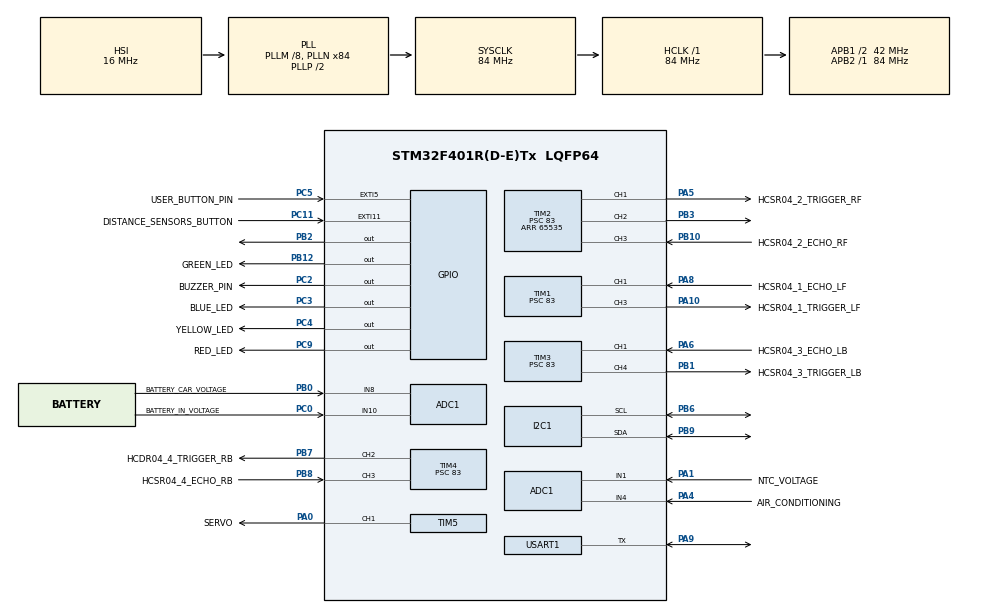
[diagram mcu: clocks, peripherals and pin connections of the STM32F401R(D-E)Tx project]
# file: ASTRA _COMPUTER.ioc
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ADC1.Channel-0\#ChannelRegularConversion=ADC_CHANNEL_8
ADC1.Channel-1\#ChannelRegularConversion=ADC_CHANNEL_1
ADC1.Channel-2\#ChannelRegularConversion=ADC_CHANNEL_4
ADC1.Channel-3\#ChannelRegularConversion=ADC_CHANNEL_10
ADC1.ContinuousConvMode=ENABLE
ADC1.DMAContinuousRequests=ENABLE
ADC1.NbrOfConversion=4
ADC1.NbrOfConversionFlag=1
ADC1.Rank-0\#ChannelRegularConversion=1
ADC1.Rank-1\#ChannelRegularConversion=2
ADC1.Rank-2\#ChannelRegularConversion=3
ADC1.Rank-3\#ChannelRegularConversion=4
ADC1.SamplingTime-0\#ChannelRegularConversion=ADC_SAMPLETIME_480CYCLES
ADC1.SamplingTime-1\#ChannelRegularConversion=ADC_SAMPLETIME_480CYCLES
ADC1.SamplingTime-2\#ChannelRegularConversion=ADC_SAMPLETIME_112CYCLES
ADC1.SamplingTime-3\#ChannelRegularConversion=ADC_SAMPLETIME_480CYCLES
ADC1.master=1
Dma.ADC1.0.Direction=DMA_PERIPH_TO_MEMORY
Dma.ADC1.0.FIFOMode=DMA_FIFOMODE_DISABLE
Dma.ADC1.0.Instance=DMA2_Stream0
Dma.ADC1.0.MemDataAlignment=DMA_MDATAALIGN_HALFWORD
Dma.ADC1.0.MemInc=DMA_MINC_ENABLE
Dma.ADC1.0.Mode=DMA_CIRCULAR
Dma.ADC1.0.PeriphDataAlignment=DMA_PDATAALIGN_HALFWORD
Dma.ADC1.0.PeriphInc=DMA_PINC_DISABLE
Dma.ADC1.0.Priority=DMA_PRIORITY_LOW
Dma.Request0=ADC1
Mcu.Family=STM32F4
Mcu.Name=STM32F401R(D-E)Tx
Mcu.Package=LQFP64
NVIC.DMA2_Stream0_IRQn=true\:0\:0\:false\:false\:true\:false\:true\:true
NVIC.EXTI15_10_IRQn=true\:0\:0\:false\:true\:true\:7\:true\:true\:true
NVIC.EXTI9_5_IRQn=true\:0\:0\:false\:true\:true\:1\:true\:true\:true
NVIC.PriorityGroup=NVIC_PRIORITYGROUP_4
NVIC.TIM1_CC_IRQn=true\:0\:0\:false\:true\:true\:5\:true\:true\:true
NVIC.TIM1_TRG_COM_TIM11_IRQn=true\:0\:0\:false\:true\:true\:6\:true\:true\:true
NVIC.TIM2_IRQn=true\:0\:0\:false\:true\:true\:4\:true\:true\:true
NVIC.TIM3_IRQn=true\:0\:0\:false\:true\:true\:3\:true\:true\:true
NVIC.TIM4_IRQn=true\:0\:0\:false\:true\:true\:2\:true\:true\:true
PA0-WKUP.GPIO_Label=SERVO
PA0-WKUP.Signal=S_TIM5_CH1
PA1.GPIO_Label=NTC_VOLTAGE
PA1.Signal=ADCx_IN1
PA10.GPIO_Label=HCSR04_1_TRIGGER_LF
PA10.Signal=S_TIM1_CH3
PA4.GPIO_Label=AIR_CONDITIONING
PA4.Signal=ADCx_IN4
PA5.GPIO_Label=HCSR04_2_TRIGGER_RF
PA5.Signal=S_TIM2_CH1_ETR
PA6.GPIO_Label=HCSR04_3_ECHO_LB
PA6.Signal=S_TIM3_CH1
PA8.GPIO_Label=HCSR04_1_ECHO_LF
PA8.Signal=S_TIM1_CH1
PA9.Mode=Half_duplex(single_wire_mode)
PA9.Signal=USART1_TX
PB0.GPIO_Label=BATTERY_CAR_VOLTAGE
PB0.Signal=ADCx_IN8
PB1.GPIO_Label=HCSR04_3_TRIGGER_LB
PB1.Signal=S_TIM3_CH4
PB10.GPIO_Label=HCSR04_2_ECHO_RF
PB10.Signal=S_TIM2_CH3
PB12.GPIO_Label=GREEN_LED
PB12.Signal=GPIO_Output
PB2.Signal=GPIO_Output
PB3.Signal=S_TIM2_CH2
PB6.Mode=I2C
PB6.Signal=I2C1_SCL
PB7.GPIO_Label=HCDR04_4_TRIGGER_RB
PB7.Signal=S_TIM4_CH2
PB8.GPIO_Label=HCSR04_4_ECHO_RB
PB8.Signal=S_TIM4_CH3
PB9.Mode=I2C
PB9.Signal=I2C1_SDA
PC0.GPIO_Label=BATTERY_IN_VOLTAGE
PC0.Signal=ADCx_IN10
PC11.GPIO_Label=DISTANCE_SENSORS_BUTTON
PC11.GPIO_ModeDefaultEXTI=GPIO_MODE_IT_RISING
PC11.GPIO_PuPd=GPIO_PULLUP
PC11.Signal=GPXTI11
PC2.GPIO_Label=BUZZER_PIN
PC2.Signal=GPIO_Output
PC3.GPIO_Label=BLUE_LED
PC3.Signal=GPIO_Output
PC4.GPIO_Label=YELLOW_LED
PC4.Signal=GPIO_Output
PC5.GPIO_Label=USER_BUTTON_PIN
PC5.GPIO_ModeDefaultEXTI=GPIO_MODE_IT_RISING
PC5.GPIO_PuPd=GPIO_PULLUP
PC5.Signal=GPXTI5
PC9.GPIO_Label=RED_LED
PC9.Signal=GPIO_Output
ProjectManager.HeapSize=0x200
ProjectManager.StackSize=0x400
ProjectManager.TargetToolchain=STM32CubeIDE
RCC.48MHZClocksFreq_Value=24000000
RCC.AHBFreq_Value=84000000
RCC.APB1CLKDivider=RCC_HCLK_DIV2
RCC.APB1Freq_Value=42000000
RCC.APB1TimFreq_Value=84000000
RCC.APB2Freq_Value=84000000
RCC.APB2TimFreq_Value=84000000
RCC.CortexFreq_Value=84000000
RCC.HCLKFreq_Value=84000000
RCC.HSE_VALUE=25000000
RCC.HSI_VALUE=16000000
RCC.LSE_VALUE=32768
RCC.PLLM=8
RCC.PLLN=84
RCC.PLLQ=7
RCC.SYSCLKFreq_VALUE=84000000
RCC.SYSCLKSource=RCC_SYSCLKSOURCE_PLLCLK
RCC.VCOOutputFreq_Value=168000000
SH.ADCx_IN1.0=ADC1_IN1,IN1
SH.ADCx_IN10.0=ADC1_IN10,IN10
SH.ADCx_IN4.0=ADC1_IN4,IN4
SH.ADCx_IN8.0=ADC1_IN8,IN8
SH.S_TIM1_CH1.0=TIM1_CH1,Input_Capture1_from_TI1
SH.S_TIM1_CH3.0=TIM1_CH3,PWM Generation3 CH3
SH.S_TIM2_CH1_ETR.0=TIM2_CH1,PWM Generation1 CH1
SH.S_TIM2_CH2.0=TIM2_CH2,PWM Generation2 CH2
SH.S_TIM2_CH3.0=TIM2_CH3,Input_Capture3_from_TI3
SH.S_TIM3_CH1.0=TIM3_CH1,Input_Capture1_from_TI1
SH.S_TIM3_CH4.0=TIM3_CH4,PWM Generation4 CH4
SH.S_TIM4_CH2.0=TIM4_CH2,PWM Generation2 CH2
SH.S_TIM4_CH3.0=TIM4_CH3,Input_Capture3_from_TI3
SH.S_TIM5_CH1.0=TIM5_CH1,PWM Generation1 CH1
TIM1.Channel-Input_Capture1_from_TI1=TIM_CHANNEL_1
TIM1.Channel-Input_Capture2_from_TI1_63=TIM_CHANNEL_2
TIM1.Channel-PWM\ Generation3\ CH3=TIM_CHANNEL_3
TIM1.ICPolarity_CH2=TIM_INPUTCHANNELPOLARITY_FALLING
TIM1.Prescaler=83
TIM1.Pulse-PWM\ Generation3\ CH3=11
TIM11.Period=499
TIM11.Prescaler=8399
TIM2.Channel-Input_Capture3_from_TI3=TIM_CHANNEL_3
TIM2.Channel-Input_Capture4_from_TI3_63=TIM_CHANNEL_4
TIM2.Channel-PWM\ Generation1\ CH1=TIM_CHANNEL_1
TIM2.Channel-PWM\ Generation2\ CH2=TIM_CHANNEL_2
TIM2.ICPolarity_CH4=TIM_INPUTCHANNELPOLARITY_FALLING
TIM2.Period=65535
TIM2.Prescaler=83
TIM2.Pulse-PWM\ Generation1\ CH1=11
TIM3.Channel-Input_Capture1_from_TI1=TIM_CHANNEL_1
TIM3.Channel-Input_Capture2_from_TI1_63=TIM_CHANNEL_2
TIM3.Channel-PWM\ Generation4\ CH4=TIM_CHANNEL_4
TIM3.ICPolarity_CH2=TIM_INPUTCHANNELPOLARITY_FALLING
TIM3.Prescaler=83
TIM3.Pulse-PWM\ Generation4\ CH4=11
TIM4.Channel-Input_Capture3_from_TI3=TIM_CHANNEL_3
TIM4.Channel-Input_Capture4_from_TI3_63=TIM_CHANNEL_4
TIM4.Channel-PWM\ Generation2\ CH2=TIM_CHANNEL_2
TIM4.ICPolarity_CH4=TIM_INPUTCHANNELPOLARITY_FALLING
TIM4.Prescaler=83
TIM4.Pulse-PWM\ Generation2\ CH2=11
TIM5.Channel-PWM\ Generation1\ CH1=TIM_CHANNEL_1
TIM5.Period=19999
TIM5.Prescaler=83
USART1.VirtualMode=VM_ASYNC
VP_TIM11_VS_ClockSourceINT.Mode=Enable_Timer
VP_TIM1_VS_ClockSourceINT.Mode=Internal
VP_TIM1_VS_indirect_ch1.Mode=Input_Capture2_from_TI1_63
VP_TIM2_VS_ClockSourceINT.Mode=Internal
VP_TIM2_VS_indirect_ch3.Mode=Input_Capture4_from_TI3_63
VP_TIM3_VS_indirect_ch1.Mode=Input_Capture2_from_TI1_63
VP_TIM4_VS_ClockSourceINT.Mode=Internal
VP_TIM4_VS_indirect_ch3.Mode=Input_Capture4_from_TI3_63
VP_TIM5_VS_ClockSourceINT.Mode=Internal
board=custom

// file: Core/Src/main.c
/* USER CODE BEGIN Header */
/**
  ******************************************************************************
  * @file           : main.c
  * @brief          : Main program body
  ******************************************************************************
  * @attention
  *
  * Copyright (c) 2023 STMicroelectronics.
  * All rights reserved.
  *
  * This software is licensed under terms that can be found in the LICENSE file
  * in the root directory of this software component.
  * If no LICENSE file comes with this software, it is provided AS-IS.
  *
  ******************************************************************************
  */
/* USER CODE END Header */
#include "main.h"
#include "adc.h"
#include "dma.h"
#include "i2c.h"
#include "tim.h"
#include "usart.h"
#include "gpio.h"

/* USER CODE BEGIN Includes */
#include "stdbool.h"
#include "stdio.h"
#include "mainProgram.h"
#include <HCSR04.h>
#include <sg90_servo.h>
#include <PID.h>
#include <lcd_i2c.h>
/* USER CODE END Includes */

/* USER CODE BEGIN PV */
mainData_t mainData;
LCDdisplay_t displayInfo;
HCSR04_t hcsr04_1_LF;
HCSR04_t hcsr04_2_RF;
HCSR04_t hcsr04_3_LB;
HCSR04_t hcsr04_4_RB;
sg90_servo_t servo;
PIDController pid = {10,5,3,0,180};

volatile uint32_t currentMillis =0;
volatile uint32_t previousMillis =0;

volatile uint32_t previousMillisBuzzer = 0;
volatile uint32_t buzzerTimer = 0;
volatile uint16_t buzzerTime = 0;

uint16_t servoPos = 500;
/* USER CODE END PV */

void SystemClock_Config(void);
static void MX_NVIC_Init(void);

int main(void)
{

  /* MCU Configuration--------------------------------------------------------*/

  /* Reset of all peripherals, Initializes the Flash interface and the Systick. */
  HAL_Init();

  /* Configure the system clock */
  SystemClock_Config();

  /* Initialize all configured peripherals */
  MX_GPIO_Init();
  MX_DMA_Init();
  MX_ADC1_Init();
  MX_TIM1_Init();
  MX_TIM11_Init();
  MX_TIM2_Init();
  MX_TIM3_Init();
  MX_TIM4_Init();
  MX_USART1_UART_Init();
  MX_I2C1_Init();
  MX_TIM5_Init();

  /* Initialize interrupts */
  MX_NVIC_Init();
  /* USER CODE BEGIN 2 */

  modulesInitialization();

  /* USER CODE END 2 */

  /* Infinite loop */
  /* USER CODE BEGIN WHILE */
  while (1)
  {
	  MainProgram();

    /* USER CODE END WHILE */

  }
}

void SystemClock_Config(void)
{
  RCC_OscInitTypeDef RCC_OscInitStruct = {0};
  RCC_ClkInitTypeDef RCC_ClkInitStruct = {0};

  /** Configure the main internal regulator output voltage
  */
  __HAL_RCC_PWR_CLK_ENABLE();
  __HAL_PWR_VOLTAGESCALING_CONFIG(PWR_REGULATOR_VOLTAGE_SCALE2);

  /** Initializes the RCC Oscillators according to the specified parameters
  * in the RCC_OscInitTypeDef structure.
  */
  RCC_OscInitStruct.OscillatorType = RCC_OSCILLATORTYPE_HSI;
  RCC_OscInitStruct.HSIState = RCC_HSI_ON;
  RCC_OscInitStruct.HSICalibrationValue = RCC_HSICALIBRATION_DEFAULT;
  RCC_OscInitStruct.PLL.PLLState = RCC_PLL_ON;
  RCC_OscInitStruct.PLL.PLLSource = RCC_PLLSOURCE_HSI;
  RCC_OscInitStruct.PLL.PLLM = 8;
  RCC_OscInitStruct.PLL.PLLN = 84;
  RCC_OscInitStruct.PLL.PLLP = RCC_PLLP_DIV2;
  RCC_OscInitStruct.PLL.PLLQ = 7;
  if (HAL_RCC_OscConfig(&RCC_OscInitStruct) != HAL_OK)
  {
    Error_Handler();
  }

  /** Initializes the CPU, AHB and APB buses clocks
  */
  RCC_ClkInitStruct.ClockType = RCC_CLOCKTYPE_HCLK|RCC_CLOCKTYPE_SYSCLK
                              |RCC_CLOCKTYPE_PCLK1|RCC_CLOCKTYPE_PCLK2;
  RCC_ClkInitStruct.SYSCLKSource = RCC_SYSCLKSOURCE_PLLCLK;
  RCC_ClkInitStruct.AHBCLKDivider = RCC_SYSCLK_DIV1;
  RCC_ClkInitStruct.APB1CLKDivider = RCC_HCLK_DIV2;
  RCC_ClkInitStruct.APB2CLKDivider = RCC_HCLK_DIV1;

  if (HAL_RCC_ClockConfig(&RCC_ClkInitStruct, FLASH_LATENCY_2) != HAL_OK)
  {
    Error_Handler();
  }
}

/**
  * @brief NVIC Configuration.
  * @retval None
  */
static void MX_NVIC_Init(void)
{
  /* EXTI9_5_IRQn interrupt configuration */
  HAL_NVIC_SetPriority(EXTI9_5_IRQn, 0, 0);
  HAL_NVIC_EnableIRQ(EXTI9_5_IRQn);
  /* TIM4_IRQn interrupt configuration */
  HAL_NVIC_SetPriority(TIM4_IRQn, 0, 0);
  HAL_NVIC_EnableIRQ(TIM4_IRQn);
  /* TIM3_IRQn interrupt configuration */
  HAL_NVIC_SetPriority(TIM3_IRQn, 0, 0);
  HAL_NVIC_EnableIRQ(TIM3_IRQn);
  /* TIM2_IRQn interrupt configuration */
  HAL_NVIC_SetPriority(TIM2_IRQn, 0, 0);
  HAL_NVIC_EnableIRQ(TIM2_IRQn);
  /* TIM1_CC_IRQn interrupt configuration */
  HAL_NVIC_SetPriority(TIM1_CC_IRQn, 0, 0);
  HAL_NVIC_EnableIRQ(TIM1_CC_IRQn);
  /* TIM1_TRG_COM_TIM11_IRQn interrupt configuration */
  HAL_NVIC_SetPriority(TIM1_TRG_COM_TIM11_IRQn, 0, 0);
  HAL_NVIC_EnableIRQ(TIM1_TRG_COM_TIM11_IRQn);
  /* EXTI15_10_IRQn interrupt configuration */
  HAL_NVIC_SetPriority(EXTI15_10_IRQn, 0, 0);
  HAL_NVIC_EnableIRQ(EXTI15_10_IRQn);
}

/* USER CODE BEGIN 4 */
void HAL_GPIO_EXTI_Callback(uint16_t GPIO_Pin)
{

	currentMillis = HAL_GetTick();

	if ((GPIO_Pin == DISTANCE_SENSORS_BUTTON_Pin) && (currentMillis - previousMillis > 360))
	{
		if ( mainData.disanceSensorsState == true)
		{
			turnOffDistanceSensors();
		}
		else
		{
			turnOnDistanceSensors();
		}
		previousMillis = currentMillis;
	}

	if ((GPIO_Pin == USER_BUTTON_PIN_Pin) && (currentMillis - previousMillis > 350) )
	{
		displayInfo++;

		if (displayInfo > 8)
		{
			displayInfo = 0;
		}
		previousMillis = currentMillis;
	}

}

void HAL_TIM_IC_CaptureCallback(TIM_HandleTypeDef *htim)
{
	if (htim == hcsr04_1_LF.htim_echo)
	{
		HCSR04_interrupt_handler(&hcsr04_1_LF);
		if (HCSR04_CalculateResultFloat(&hcsr04_1_LF, &mainData.Distance.leftFront) != HCSR04_OK)
		{
			mainData.Errors.alarmState = true;
			mainData.Errors.allErrors++;
			mainData.Errors.LFD = true;
			mainData.Errors.LFDErrors++;
		}
		else
		{
			mainData.Errors.LFD = false;
		}
	}

	if (htim == hcsr04_2_RF.htim_echo)
	{
		HCSR04_interrupt_handler(&hcsr04_2_RF);
		if (HCSR04_CalculateResultFloat(&hcsr04_2_RF, &mainData.Distance.rightFront)!= HCSR04_OK)
		{
			mainData.Errors.alarmState = true;
			mainData.Errors.allErrors++;
			mainData.Errors.RFD = true;
			mainData.Errors.RFDErrors++;
		}
		else
		{
			mainData.Errors.RFD = false;
		}
	}

	if (htim == hcsr04_3_LB.htim_echo)
	{
		HCSR04_interrupt_handler(&hcsr04_3_LB);
		if (HCSR04_CalculateResultFloat(&hcsr04_3_LB, &mainData.Distance.leftBack)!= HCSR04_OK)
		{
			mainData.Errors.alarmState = true;
			mainData.Errors.allErrors++;
			mainData.Errors.LBD = true;
			mainData.Errors.LBDErrors++;
		}
		else
		{
			mainData.Errors.LBD = false;
		}
	}

	if (htim == hcsr04_4_RB.htim_echo)
	{
		HCSR04_interrupt_handler(&hcsr04_4_RB);
		if (HCSR04_CalculateResultFloat(&hcsr04_4_RB, &mainData.Distance.rightBack)!= HCSR04_OK)
		{
			mainData.Errors.alarmState = true;
			mainData.Errors.allErrors++;
			mainData.Errors.RBD = true;
			mainData.Errors.RBDErrors++;
		}
		else
		{
			mainData.Errors.RBD = false;
		}
	}

}

void HAL_TIM_PeriodElapsedCallback(TIM_HandleTypeDef *htim)
{

	uint32_t currentMillsBuzzer = HAL_GetTick();
	if ((htim->Instance == TIM11) && mainData.ledState == true){
		initBlinkLEDS();
	}

	if (htim->Instance == TIM11 && mainData.Errors.alarmState)
	{
		blinkRedLEDAlarm();
	}

	if ((currentMillsBuzzer - previousMillisBuzzer > buzzerTime) &&(
			((mainData.Distance.leftFront < 50) && (mainData.Distance.leftFront > 1))	||
			((mainData.Distance.rightFront < 50) && (mainData.Distance.rightFront > 1)) ||
			((mainData.Distance.leftBack < 50) && (mainData.Distance.leftBack > 1))	||
			((mainData.Distance.rightBack < 50) && (mainData.Distance.rightBack > 1))
		) && mainData.disanceSensorsState == true)

	{
		HAL_GPIO_TogglePin(BUZZER_PIN_GPIO_Port, BUZZER_PIN_Pin);
		previousMillisBuzzer = currentMillsBuzzer;
	}
	else
	{
		HAL_GPIO_WritePin(BUZZER_PIN_GPIO_Port, BUZZER_PIN_Pin, GPIO_PIN_RESET);
	}

}
/* USER CODE END 4 */

void Error_Handler(void)
{
  __disable_irq();
  while (1)
  {
  }
}
